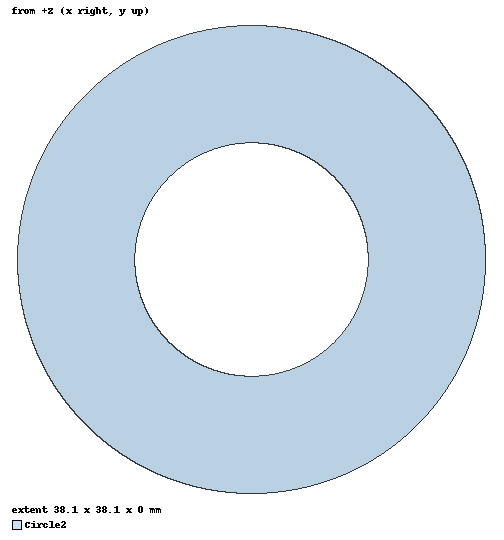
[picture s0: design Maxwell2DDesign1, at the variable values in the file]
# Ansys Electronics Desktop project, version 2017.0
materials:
  vacuum: permittivity=1

design Maxwell2DDesign1 (Maxwell 2D, Magnetostatic, XY geometry, model units mm)
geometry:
  Circle1 = circle(normal=Z, centre=(0mm, 0mm, 0mm), radius=9.5mm)
  Circle2 [vacuum] = circle(normal=Z, centre=(0mm, 0mm, 0mm), radius=19.05mm)
  Circle2.subtract(Circle1)
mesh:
  initial mesh: MeshMethod=AnsoftClassic
